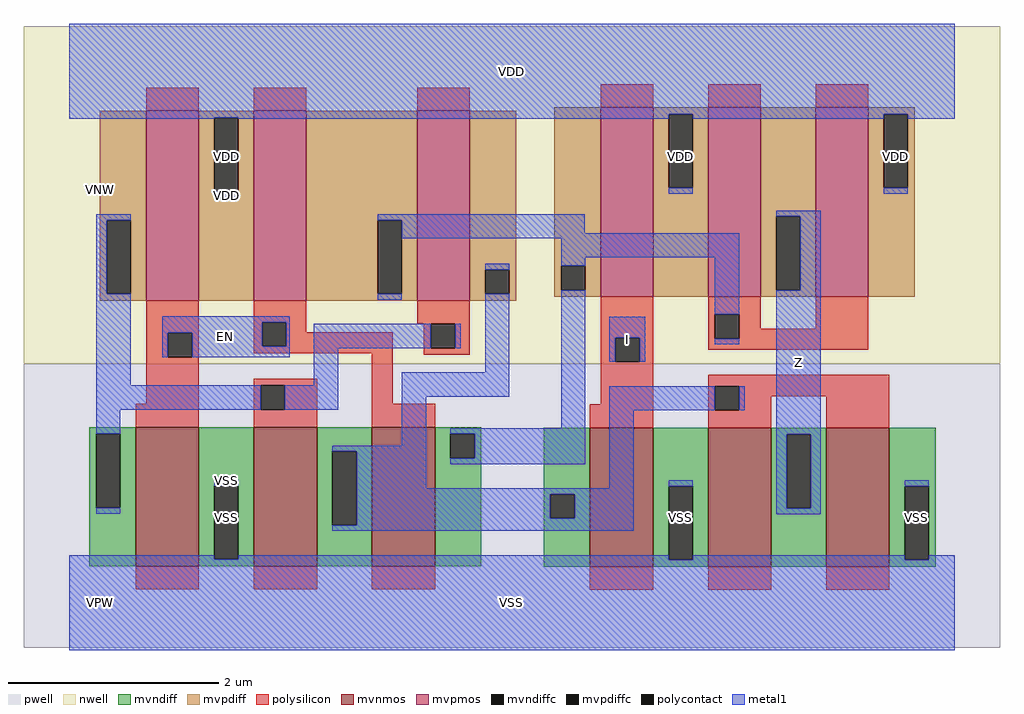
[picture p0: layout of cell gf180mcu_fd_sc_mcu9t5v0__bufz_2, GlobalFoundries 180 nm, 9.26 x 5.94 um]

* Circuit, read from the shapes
.subckt gf180mcu_fd_sc_mcu9t5v0__bufz_2 EN I Z VDD VNW VPW VSS
XM1 VSS EN n1 VPW nfet_06v0 w=1.32u l=0.6u
XM2 n2 n1 VSS VPW nfet_06v0 w=1.32u l=0.6u
XM3 n3 EN n2 VPW nfet_06v0 w=1.32u l=0.6u
XM4 VSS I n2 VPW nfet_06v0 w=1.32u l=0.6u
XM5 Z n2 VSS VPW nfet_06v0 w=1.32u l=0.6u m=2
XM6 VDD EN n1 VNW pfet_06v0 w=1.8u l=0.5u
XM7 n3 EN VDD VNW pfet_06v0 w=1.8u l=0.5u
XM8 n2 n1 n3 VNW pfet_06v0 w=1.8u l=0.5u
XM9 VDD I n3 VNW pfet_06v0 w=1.8u l=0.5u
XM10 Z n3 VDD VNW pfet_06v0 w=1.8u l=0.5u m=2
.ends

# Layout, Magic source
magic
tech gf180mcuD
magscale 1 10
<< nwell >>
rect -86 453 1766 1094
<< pwell >>
rect -86 -86 1766 453
<< mvnmos >>
rect 126 69 246 333
rect 350 69 470 333
rect 574 69 694 333
rect 988 68 1108 332
rect 1212 68 1332 332
rect 1436 68 1556 332
<< mvpmos >>
rect 146 573 246 933
rect 350 573 450 933
rect 660 573 760 933
rect 1008 580 1108 940
rect 1212 580 1312 940
rect 1416 580 1516 940
<< mvndiff >>
rect 38 320 126 333
rect 38 180 51 320
rect 97 180 126 320
rect 38 69 126 180
rect 246 222 350 333
rect 246 82 275 222
rect 321 82 350 222
rect 246 69 350 82
rect 470 287 574 333
rect 470 147 499 287
rect 545 147 574 287
rect 470 69 574 147
rect 694 320 782 333
rect 694 274 723 320
rect 769 274 782 320
rect 694 69 782 274
rect 900 206 988 332
rect 900 160 913 206
rect 959 160 988 206
rect 900 68 988 160
rect 1108 221 1212 332
rect 1108 81 1137 221
rect 1183 81 1212 221
rect 1108 68 1212 81
rect 1332 319 1436 332
rect 1332 179 1361 319
rect 1407 179 1436 319
rect 1332 68 1436 179
rect 1556 221 1644 332
rect 1556 81 1585 221
rect 1631 81 1644 221
rect 1556 68 1644 81
<< mvpdiff >>
rect 58 726 146 933
rect 58 586 71 726
rect 117 586 146 726
rect 58 573 146 586
rect 246 920 350 933
rect 246 780 275 920
rect 321 780 350 920
rect 246 573 350 780
rect 450 726 660 933
rect 450 586 585 726
rect 631 586 660 726
rect 450 573 660 586
rect 760 632 848 933
rect 760 586 789 632
rect 835 586 848 632
rect 760 573 848 586
rect 920 639 1008 940
rect 920 593 933 639
rect 979 593 1008 639
rect 920 580 1008 593
rect 1108 927 1212 940
rect 1108 787 1137 927
rect 1183 787 1212 927
rect 1108 580 1212 787
rect 1312 733 1416 940
rect 1312 593 1341 733
rect 1387 593 1416 733
rect 1312 580 1416 593
rect 1516 927 1604 940
rect 1516 787 1545 927
rect 1591 787 1604 927
rect 1516 580 1604 787
<< mvndiffc >>
rect 51 180 97 320
rect 275 82 321 222
rect 499 147 545 287
rect 723 274 769 320
rect 913 160 959 206
rect 1137 81 1183 221
rect 1361 179 1407 319
rect 1585 81 1631 221
<< mvpdiffc >>
rect 71 586 117 726
rect 275 780 321 920
rect 585 586 631 726
rect 789 586 835 632
rect 933 593 979 639
rect 1137 787 1183 927
rect 1341 593 1387 733
rect 1545 787 1591 927
<< polysilicon >>
rect 146 933 246 977
rect 350 933 450 977
rect 660 933 760 977
rect 1008 940 1108 984
rect 1212 940 1312 984
rect 1416 940 1516 984
rect 146 512 246 573
rect 146 466 187 512
rect 233 466 246 512
rect 350 532 450 573
rect 350 486 366 532
rect 412 513 450 532
rect 660 529 760 573
rect 412 486 614 513
rect 350 473 614 486
rect 146 377 246 466
rect 126 333 246 377
rect 350 412 470 425
rect 350 366 363 412
rect 409 366 470 412
rect 350 333 470 366
rect 574 377 614 473
rect 673 483 686 529
rect 732 483 760 529
rect 673 470 760 483
rect 1008 503 1108 580
rect 1008 457 1036 503
rect 1082 457 1108 503
rect 1212 547 1312 580
rect 1212 501 1225 547
rect 1271 520 1312 547
rect 1416 520 1516 580
rect 1271 501 1516 520
rect 1212 480 1516 501
rect 574 333 694 377
rect 1008 376 1108 457
rect 988 332 1108 376
rect 1212 411 1556 432
rect 1212 365 1225 411
rect 1271 392 1556 411
rect 1271 365 1332 392
rect 1212 332 1332 365
rect 1436 332 1556 392
rect 126 25 246 69
rect 350 25 470 69
rect 574 25 694 69
rect 988 24 1108 68
rect 1212 24 1332 68
rect 1436 24 1556 68
<< polycontact >>
rect 187 466 233 512
rect 366 486 412 532
rect 363 366 409 412
rect 686 483 732 529
rect 1036 457 1082 503
rect 1225 501 1271 547
rect 1225 365 1271 411
<< metal1 >>
rect 0 927 1680 1098
rect 0 920 1137 927
rect 0 918 275 920
rect 321 918 1137 920
rect 275 769 321 780
rect 1183 918 1545 927
rect 1137 776 1183 787
rect 1591 918 1680 927
rect 1545 776 1591 787
rect 51 726 117 737
rect 51 586 71 726
rect 51 412 117 586
rect 585 726 978 737
rect 631 701 978 726
rect 1341 733 1426 744
rect 631 691 1271 701
rect 933 655 1271 691
rect 585 575 631 586
rect 789 632 835 643
rect 176 532 418 543
rect 176 512 366 532
rect 176 466 187 512
rect 233 486 366 512
rect 412 486 418 532
rect 233 466 418 486
rect 464 483 686 529
rect 732 483 743 529
rect 464 412 510 483
rect 789 437 835 586
rect 51 366 363 412
rect 409 366 510 412
rect 631 391 835 437
rect 933 639 979 655
rect 51 320 97 366
rect 631 298 677 391
rect 933 331 979 593
rect 1225 547 1271 655
rect 1025 503 1093 542
rect 1025 457 1036 503
rect 1082 457 1093 503
rect 1225 490 1271 501
rect 1387 593 1426 733
rect 499 287 677 298
rect 51 169 97 180
rect 275 222 321 233
rect 0 82 275 90
rect 545 217 677 287
rect 723 320 979 331
rect 769 274 979 320
rect 723 263 979 274
rect 1025 365 1225 411
rect 1271 365 1282 411
rect 1025 217 1071 365
rect 1341 319 1426 593
rect 545 206 1071 217
rect 545 160 913 206
rect 959 160 1071 206
rect 545 147 1071 160
rect 499 136 1071 147
rect 1137 221 1183 232
rect 321 82 1137 90
rect 0 81 1137 82
rect 1341 179 1361 319
rect 1407 179 1426 319
rect 1341 168 1426 179
rect 1585 221 1631 232
rect 1183 81 1585 90
rect 1631 81 1680 90
rect 0 -90 1680 81
<< labels >>
flabel metal1 s 176 466 418 543 0 FreeSans 200 0 0 0 EN
port 1 nsew default input
flabel metal1 s 1025 457 1093 542 0 FreeSans 200 0 0 0 I
port 2 nsew default input
flabel metal1 s 0 918 1680 1098 0 FreeSans 200 0 0 0 VDD
port 4 nsew power bidirectional abutment
flabel metal1 s 275 232 321 233 0 FreeSans 200 0 0 0 VSS
port 7 nsew ground bidirectional abutment
flabel metal1 s 1341 168 1426 744 0 FreeSans 200 0 0 0 Z
port 3 nsew default output
flabel nwell s 10 734 110 834 0 FreeSans 400 0 0 0 VNW
port 5 nsew power bidirectional
flabel pwell s 10 -50 110 50 0 FreeSans 400 0 0 0 VPW
port 6 nsew ground bidirectional
rlabel metal1 s 1545 776 1591 918 1 VDD
port 4 nsew power bidirectional abutment
rlabel metal1 s 1137 776 1183 918 1 VDD
port 4 nsew power bidirectional abutment
rlabel metal1 s 275 776 321 918 1 VDD
port 4 nsew power bidirectional abutment
rlabel metal1 s 275 769 321 776 1 VDD
port 4 nsew power bidirectional abutment
rlabel metal1 s 1585 90 1631 232 1 VSS
port 7 nsew ground bidirectional abutment
rlabel metal1 s 1137 90 1183 232 1 VSS
port 7 nsew ground bidirectional abutment
rlabel metal1 s 275 90 321 232 1 VSS
port 7 nsew ground bidirectional abutment
rlabel metal1 s 0 -90 1680 90 1 VSS
port 7 nsew ground bidirectional abutment
<< properties >>
string FIXED_BBOX 0 0 1680 1008
string GDS_END 1335458
string GDS_FILE $PDKPATH/libs.ref/gf180mcu_fd_sc_mcu9t5v0/gds/gf180mcu_fd_sc_mcu9t5v0.gds
string GDS_START 1330174
string LEFclass core
string LEFsite GF018hv5v_green_sc9
string LEFsymmetry X Y
<< end >>
